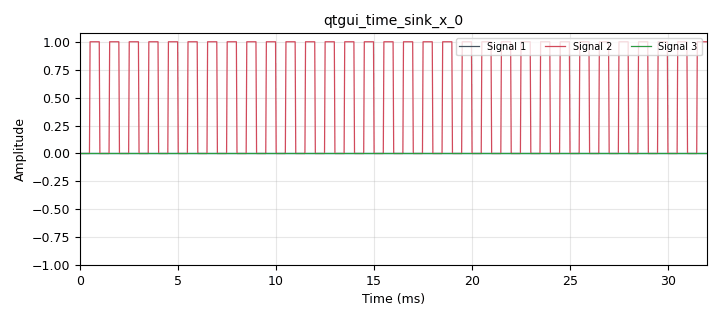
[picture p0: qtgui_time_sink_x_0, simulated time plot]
options:
  parameters:
    author: zzaw
    generate_options: qt_gui
    id: TEST_latch
    output_language: python
    title: Not titled yet
  states: {}

blocks:
- name: datain
  id: variable_qtgui_chooser
  parameters:
    num_opts: '2'
    option0: '0'
    option1: '1'
    orient: Qt.QHBoxLayout
    type: int
    value: '0'
    widget: radio_buttons
  states: {}
- name: samp_rate
  id: variable
  parameters:
    value: '32000'
  states: {}
- name: analog_const_source_x_0
  id: analog_const_source_x
  parameters:
    const: datain
    type: byte
  states: {}
- name: analog_const_source_x_0_0
  id: analog_const_source_x
  parameters:
    const: '1'
    type: byte
  states: {}
- name: analog_sig_source_x_1
  id: analog_sig_source_x
  parameters:
    amp: '1'
    freq: '1000'
    offset: '0'
    phase: '0'
    samp_rate: samp_rate
    type: byte
    waveform: analog.GR_SQR_WAVE
  states: {}
- name: blocks_or_xx_0
  id: blocks_or_xx
  parameters:
    type: byte
  states: {}
- name: blocks_sample_and_hold_xx_0_1_1
  id: blocks_sample_and_hold_xx
  parameters:
    type: byte
  states: {}
- name: blocks_throttle_0
  id: blocks_throttle
  parameters:
    samples_per_second: samp_rate
    type: byte
  states: {}
- name: blocks_uchar_to_float_0
  id: blocks_uchar_to_float
  parameters: {}
  states: {}
- name: blocks_uchar_to_float_0_0
  id: blocks_uchar_to_float
  parameters: {}
  states: {}
- name: blocks_uchar_to_float_0_1
  id: blocks_uchar_to_float
  parameters: {}
  states: {}
- name: blocks_xor_xx_0
  id: blocks_xor_xx
  parameters:
    type: byte
  states: {}
- name: qtgui_time_sink_x_0
  id: qtgui_time_sink_x
  parameters:
    nconnections: '3'
    size: '1024'
    srate: samp_rate
    type: float
  states: {}

connections:
- [analog_const_source_x_0, '0', blocks_or_xx_0, '0']
- [analog_const_source_x_0, '0', blocks_sample_and_hold_xx_0_1_1, '0']
- [analog_const_source_x_0, '0', blocks_uchar_to_float_0_0, '0']
- [analog_const_source_x_0_0, '0', blocks_xor_xx_0, '1']
- [analog_sig_source_x_1, '0', blocks_throttle_0, '0']
- [blocks_or_xx_0, '0', blocks_sample_and_hold_xx_0_1_1, '1']
- [blocks_sample_and_hold_xx_0_1_1, '0', blocks_uchar_to_float_0_1, '0']
- [blocks_throttle_0, '0', blocks_uchar_to_float_0, '0']
- [blocks_throttle_0, '0', blocks_xor_xx_0, '0']
- [blocks_uchar_to_float_0, '0', qtgui_time_sink_x_0, '1']
- [blocks_uchar_to_float_0_0, '0', qtgui_time_sink_x_0, '0']
- [blocks_uchar_to_float_0_1, '0', qtgui_time_sink_x_0, '2']
- [blocks_xor_xx_0, '0', blocks_or_xx_0, '1']

metadata:
  file_format: 1
  grc_version: 3.10.4.0
